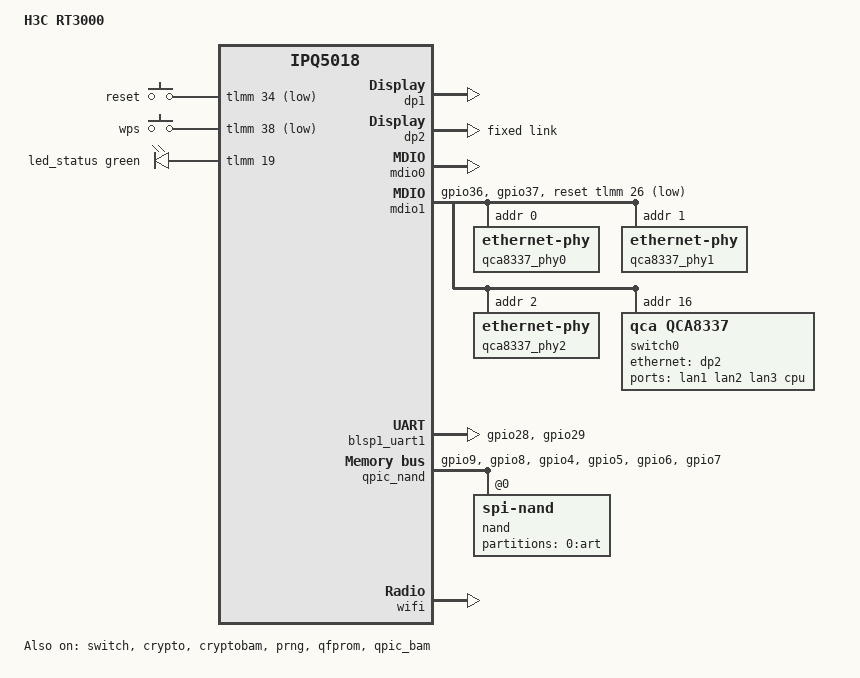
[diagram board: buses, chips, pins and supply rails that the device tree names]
/dts-v1/;

#include "ipq5018.dtsi"
#include "ipq5018-ess.dtsi"
#include "ipq5018-qcn6122.dtsi"

#include <dt-bindings/gpio/gpio.h>
#include <dt-bindings/input/input.h>
#include <dt-bindings/leds/common.h>

/ {
	model = "H3C RT3000";
	compatible = "h3c,rt3000", "qcom,ipq5018";

	aliases {
		ethernet0 = &dp1;
		ethernet1 = &dp2;
		label-mac-device = &dp1;
		led-boot = &led_status;
		led-failsafe = &led_status;
		led-running = &led_status;
		led-upgrade = &led_status;
		serial0 = &blsp1_uart1;
	};

	chosen {
		bootargs-append = "ubi.mtd=rootfs root=/dev/ubiblock0_1 rootfstype=squashfs rootwait swiotlb=1 coherent_pool=2M";
		stdout-path = "serial0:115200n8";
	};

	keys {
		compatible = "gpio-keys";
		pinctrl-0 = <&button_pins>;
		pinctrl-names = "default";

		button-reset {
			label = "reset";
			gpios = <&tlmm 34 GPIO_ACTIVE_LOW>;
			linux,code = <KEY_RESTART>;
		};

		button-wps {
			label = "wps";
			gpios = <&tlmm 38 GPIO_ACTIVE_LOW>;
			linux,code = <KEY_WPS_BUTTON>;
		};
	};

	leds {
		compatible = "gpio-leds";
		pinctrl-0 = <&led_pins>;
		pinctrl-names = "default";

		led_status: status {
			color = <LED_COLOR_ID_GREEN>;
			function = LED_FUNCTION_STATUS;
			gpios = <&tlmm 19 GPIO_ACTIVE_HIGH>;
		};
	};
};

&switch {
	status = "okay";
	switch_mac_mode = <MAC_MODE_SGMII_CHANNEL0>;

	qcom,port_phyinfo {
		port@0 {
			port_id = <1>;
			mdiobus = <&mdio0>;
			phy_address = <7>;
		};

		port@1 {
			port_id = <2>;
			forced-speed = <1000>;
			forced-duplex = <1>;
		};
	};
};

&dp1 {
	status = "okay";
};

&dp2 {
	status = "okay";

	fixed-link {
		speed = <1000>;
		full-duplex;
	};
};

&mdio0 {
	status = "okay";
};

&mdio1 {
	status = "okay";
	pinctrl-0 = <&mdio1_pins>;
	pinctrl-names = "default";
	reset-gpios = <&tlmm 26 GPIO_ACTIVE_LOW>;
	/* 内核 6.12 起 mdio-ipq4019 会用寄存器里的分频值反推 MDC 速率，
	 * 厂商 SSDK 已经把 MDIO1 的分频改成非 2 的幂，反推出来对不上就直接
	 * 返回 -EINVAL（日志: probe failed with error -22）。这里把速率写死，
	 * 100MHz/64 = 1562500Hz，正好落在驱动支持的 8..256 分频表里。 */
	clock-frequency = <1562500>;

	qca8337_phy0: ethernet-phy@0 {
		reg = <0>;
	};

	qca8337_phy1: ethernet-phy@1 {
		reg = <1>;
	};

	qca8337_phy2: ethernet-phy@2 {
		reg = <2>;
	};

	switch0: ethernet-switch@10 {
		compatible = "qca,qca8337";
		/* MDIO 管理地址 0x10 —— 实机验证通过（run 39550398658 实刷）：
		 *   qca8k 90000.mdio-1:10 lan1: PHY [90000.mdio-1:00] 8337 internal PHY
		 *   qca8k 90000.mdio-1:10 lan2: PHY [90000.mdio-1:01]
		 *   qca8k 90000.mdio-1:10 lan3: PHY [90000.mdio-1:02]
		 * 三个值（地址 0x10 / PHY 0-1-2 / 必须显式 phy-handle）都是实刷量出来的，
		 * 不要再按任何 DTB 去"修正"它。 */
		reg = <0x10>;
		#address-cells = <1>;
		#size-cells = <0>;

		ports {
			#address-cells = <1>;
			#size-cells = <0>;

			port@1 {
				reg = <1>;
				label = "lan1";
				phy-handle = <&qca8337_phy0>;
			};

			port@2 {
				reg = <2>;
				label = "lan2";
				phy-handle = <&qca8337_phy1>;
			};

			port@3 {
				reg = <3>;
				label = "lan3";
				phy-handle = <&qca8337_phy2>;
			};

			port@6 {
				reg = <6>;
				label = "cpu";
				ethernet = <&dp2>;
				phy-mode = "sgmii";
				qca,sgmii-enable-pll;

				fixed-link {
					speed = <1000>;
					full-duplex;
				};
			};
		};
	};
};

&sleep_clk {
	clock-frequency = <32000>;
};

&xo_board_clk {
	clock-div = <4>;
	clock-mult = <1>;
};

&blsp1_uart1 {
	pinctrl-0 = <&serial_0_pins>;
	pinctrl-names = "default";
	status = "okay";
};

&crypto {
	status = "okay";
};

&cryptobam {
	status = "okay";
};

&prng {
	status = "okay";
};

&qfprom {
	status = "okay";
};

&qpic_bam {
	status = "okay";
};

&qpic_nand {
	pinctrl-0 = <&qpic_pins>;
	pinctrl-names = "default";
	status = "okay";

	nand@0 {
		compatible = "spi-nand";
		reg = <0>;
		nand-ecc-engine = <&qpic_nand>;
		nand-bus-width = <8>;

		partitions {
			compatible = "qcom,smem-part";

			partition-0-art {
				label = "0:art";
				read-only;
			};
		};
	};
};

&tlmm {
	mdio1_pins: mdio-state {
		mdc-pins {
			pins = "gpio36";
			function = "mdc";
			drive-strength = <8>;
			bias-pull-up;
		};

		mdio-pins {
			pins = "gpio37";
			function = "mdio";
			drive-strength = <8>;
			bias-pull-up;
		};
	};

	led_pins: led-pins {
		pins = "gpio19";
		function = "gpio";
		drive-strength = <8>;
		bias-pull-down;
	};

	button_pins: button-pins {
		pins = "gpio34", "gpio38";
		function = "gpio";
		drive-strength = <8>;
		bias-pull-up;
	};

	qpic_pins: qpic-state {
		clock-pins {
			pins = "gpio9";
			function = "qspi_clk";
			drive-strength = <8>;
			bias-disable;
		};

		cs-pins {
			pins = "gpio8";
			function = "qspi_cs";
			drive-strength = <8>;
			bias-disable;
		};

		data-pins {
			pins = "gpio4", "gpio5", "gpio6", "gpio7";
			function = "qspi_data";
			drive-strength = <8>;
			bias-disable;
		};
	};

	serial_0_pins: uart0-state {
		pins = "gpio28", "gpio29";
		function = "blsp0_uart1";
		drive-strength = <8>;
		bias-disable;
	};
};

&q6_region {
	reg = <0x0 0x4b000000 0x0 0x4500000>;
};

&wifi {
	status = "okay";
	qcom,rproc = <&q6_wcss_pd1>;
	qcom,userpd-subsys-name = "q6v5_wcss_userpd1";
	qcom,ath11k-calibration-variant = "H3C-RT3000-IPQ5018";
	qcom,ath11k-fw-memory-mode = <1>;
	qcom,bdf-addr = <0x4c400000>;
};

&wifi1 {
	/* 临时关闭：5G 的 BDF 断言会拖死共用的 Q6，连带 2.4G 一起崩。
	 * 本分支只验证 2.4G，5G 修好前保持 disabled。 */
	status = "disabled";
	qcom,rproc = <&q6_wcss_pd2>;
	qcom,userpd-subsys-name = "q6v5_wcss_userpd2";
	qcom,ath11k-calibration-variant = "H3C-RT3000-QCN6122-0";
	qcom,ath11k-fw-memory-mode = <1>;
	qcom,bdf-addr = <0x4d100000>;
	qcom,m3-dump-addr = <0x4df00000>;
};

&wifi2 {
	status = "disabled";
	qcom,ath11k-calibration-variant = "H3C-RT3000-QCN6122-1";
	qcom,ath11k-fw-memory-mode = <1>;
	qcom,bdf-addr = <0x4e500000>;
	qcom,m3-dump-addr = <0x4f200000>;
};
